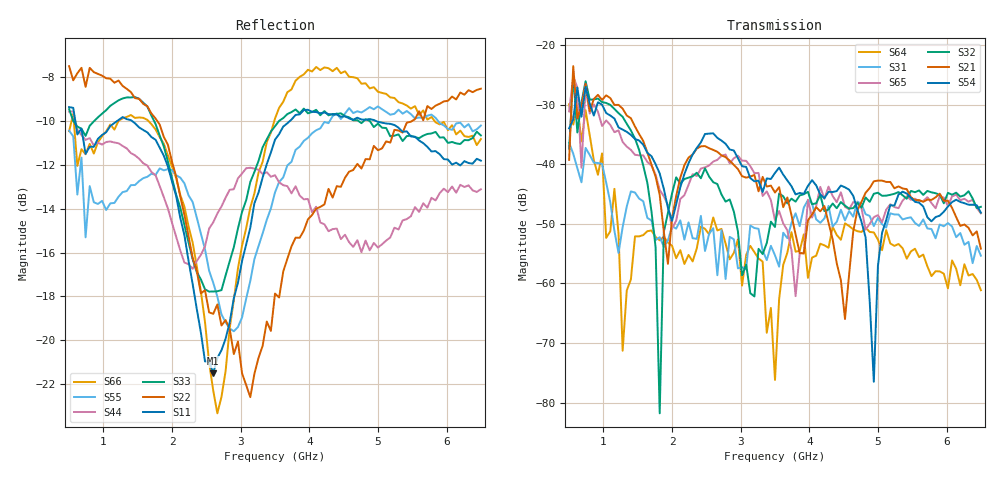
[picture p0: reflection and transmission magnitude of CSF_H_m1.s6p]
!Keysight Technologies,M9804A,MY58100912,A.14.10.03
!Date: Thursday, April 27, 2023 10:28:33
!Correction: S11(C  6-Port  )
!S12(C  6-Port  )
!S13(C  6-Port  )
!S14(C  6-Port  )
!S15(C  6-Port  )
!S16(C  6-Port  )
!S21(C  6-Port  )
!S22(C  6-Port  )
!S23(C  6-Port  )
!S24(C  6-Port  )
!S25(C  6-Port  )
!S26(C  6-Port  )
!S31(C  6-Port  )
!S32(C  6-Port  )
!S33(C  6-Port  )
!S34(C  6-Port  )
!S35(C  6-Port  )
!S36(C  6-Port  )
!S41(C  6-Port  )
!S42(C  6-Port  )
!S43(C  6-Port  )
!S44(C  6-Port  )
!S45(C  6-Port  )
!S46(C  6-Port  )
!S51(C  6-Port  )
!S52(C  6-Port  )
!S53(C  6-Port  )
!S54(C  6-Port  )
!S55(C  6-Port  )
!S56(C  6-Port  )
!S61(C  6-Port  )
!S62(C  6-Port  )
!S63(C  6-Port  )
!S64(C  6-Port  )
!S65(C  6-Port  )
!S66(C  6-Port  )
!S6P File: Measurement: :
# Hz S  RI  R 50
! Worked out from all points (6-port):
!   101 points, 500 MHz to 6.5 GHz, reference 50 ohm
!   strongest paths, dB at 500 MHz, 2 GHz, 3.5 GHz, 5 GHz, 6.5 GHz:
!     S54: -34.0, -49.5, -41.5, -57.0, -48.1
!     S21: -39.3, -49.0, -44.8, -42.8, -54.2
!     S32: -37.4, -44.9, -50.5, -44.8, -47.1
!     S65: -31.1, -50.8, -49.4, -48.5, -48.2
!     S31: -36.4, -50.4, -55.3, -49.0, -55.3
!     S64: -30.0, -53.7, -76.2, -52.7, -61.1
!   lowest |S11| = -21.5 dB at 2.6 GHz (marker M1), VSWR 1.18, Z = 42.5 + j2.17 ohm
!   |S11| at or under -10 dB: 590 MHz to 1.197 GHz (607.5 MHz wide, 68 % of centre); 1.42 GHz to 3.715 GHz (2.295 GHz wide, 89.4 % of centre); 4.977 GHz to end of sweep
